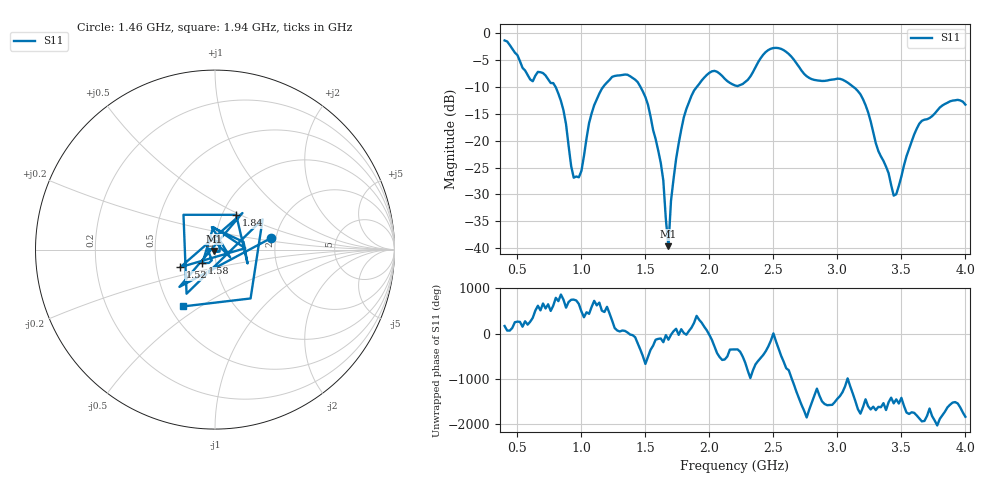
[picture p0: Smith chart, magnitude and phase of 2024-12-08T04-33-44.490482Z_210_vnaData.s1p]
!Created with skrf (http://scikit-rf.org).
# Hz S RI R 50.0
!freq ReS11 ImS11
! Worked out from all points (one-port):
!   181 points, 400 MHz to 4 GHz, reference 50 ohm
!   lowest |S11| = -39.6 dB at 1.68 GHz (marker M1), VSWR 1.02, Z = 49.3 - j0.758 ohm
!   |S11| at or under -10 dB: 798.2 MHz to 1.17 GHz (372 MHz wide, 37.8 % of centre); 1.462 GHz to 1.901 GHz (439.9 MHz wide, 26.2 % of centre); 3.125 GHz to end of sweep
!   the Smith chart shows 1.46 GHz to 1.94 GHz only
!   S11 on the Smith chart (normalised r, x): 1.46 GHz: 1.88, +0.27; 1.52 GHz: 0.67, -0.14; 1.58 GHz: 0.86, -0.13; 1.84 GHz: 1.16, +0.48; 1.94 GHz: 0.58, -0.43
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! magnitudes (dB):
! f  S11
! 400 MHz  -1.4
! 600 MHz  -8.6
! 780 MHz  -9.3
! 860 MHz  -14.4
! 940 MHz  -26.9
! 980 MHz  -26.8
! 1.1 GHz  -13.4
! 1.3 GHz  -7.9
! 1.46 GHz  -9.9
! 1.52 GHz  -13.3
! 1.58 GHz  -19.7
! 1.64 GHz  -27.4
! 1.68 GHz  -39.6
! 1.7 GHz  -31.2
! 1.76 GHz  -20.5
! 1.84 GHz  -12.9
! 1.94 GHz  -8.8
! 2.04 GHz  -7.0
! 2.2 GHz  -9.7
! 2.48 GHz  -2.9
! 2.66 GHz  -4.9
! 2.8 GHz  -8.6
! 3.1 GHz  -9.5
! 3.22 GHz  -13.4
! 3.44 GHz  -30.2
! 3.56 GHz  -21.5
! 3.66 GHz  -16.3
! 4 GHz  -13.3
